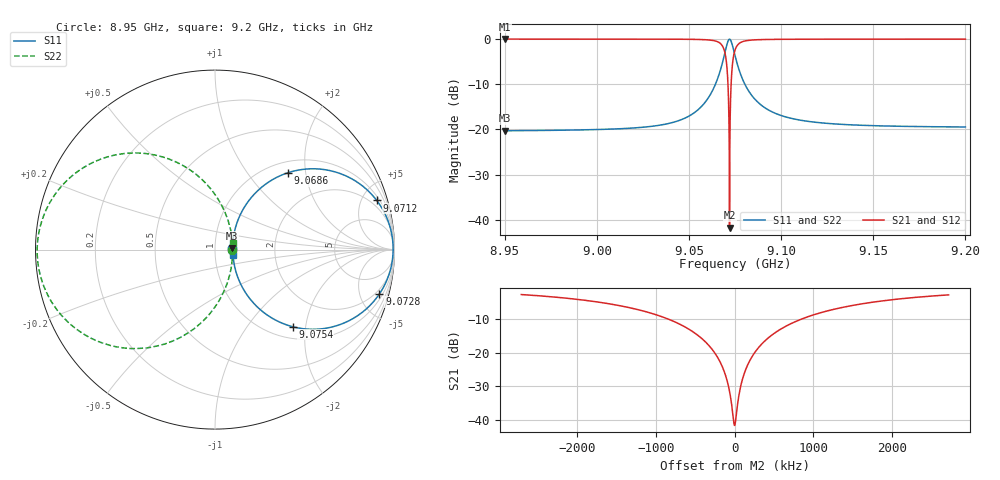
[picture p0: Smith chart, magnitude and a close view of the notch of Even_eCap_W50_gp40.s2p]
! Sonnet Data File
! From: emgraph Version : 16.52
! From Project: Resonator2_extremeCap
! Data is De-embedded
! Data File Written: 10/11/2017 17:55:30
!< HDATE 10/10/2017 20:37:37
!< MDATE 10/10/2017 20:37:37
!< PARAMS
!< Pwid1 = 2000.0
!< Pwid2 = 2000.0
!< Air_gap = 30.0
!< Width = 50.0
!< Gap = 40.0
!< END PARAMS
# GHZ S MA R 50.70000
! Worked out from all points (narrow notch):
!   1844 points, 8.95 GHz to 9.2 GHz, reference 50.7 ohm
!   highest |S21| = -0.04 dB at 8.95 GHz (marker M1); lowest = -41.7 dB at 9.072 GHz (marker M2)
!   notch at M2: 41.6 dB deep, 461 kHz wide at half that depth
!   lowest |S11| = -20.3 dB at 8.95 GHz (marker M3), VSWR 1.21, Z = 61.5 + j1.21 ohm
!   |S11| at or under -10 dB: start of sweep to 9.0644 GHz; 9.0803 GHz to end of sweep
!   |S22| runs from -20.3 to -0.1 dB; largest |S21 - S12| = 0
!   S11 on the Smith chart (normalised r, x): 8.95 GHz: 1.21, +0.02; 9.0686 GHz: 1.22, +1.60; 9.0712 GHz: 1.33, +6.46; 9.0728 GHz: 1.47, -7.24; 9.0754 GHz: 1.24, -1.69; 9.2 GHz: 1.22, -0.08
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8.95  0.09663 5.8  0.9953 -88.6  0.9953 -88.6  0.09663 -2.9
!< P1 F=8.95 Eeff=(6.44048267 -2.9687e-5) Z0=(50.4065418 1.16289e-4) R=0.0 C=0.0
!< P2 F=8.95 Eeff=(6.44048267 -2.9687e-5) Z0=(50.4065418 1.16289e-4) R=0.0 C=0.0
8.9918  0.09882 10.9  0.9951 -89.6  0.9951 -89.6  0.0988 -10.1
9.0334  0.1107 25.7  0.9938 -92.0  0.9938 -92.0  0.1107 -29.7
9.056194  0.174 48.1  0.9846 -97.5  0.9846 -97.5  0.1738 -63.3
9.065  0.3389 55.3  0.9399 -108.3  0.9399 -108.3  0.3383 -92.3
9.068611  0.5898 46.5  0.8043 -125.1  0.8043 -125.1  0.5888 -117.4
9.070165  0.7988 32.7  0.5935 -142.1  0.5935 -142.1  0.7974 -138.3
9.071189  0.942 16.9  0.315 -159.5  0.315 -159.5  0.9404 -158.8
9.071799  0.9884 5.1  0.09151 -169.0  0.09151 -169.0  0.9868 -173.4
9.071937  0.9919 2.3  0.0381 -164.8  0.0381 -164.8  0.9902 -176.8
9.072032  0.9926 0.3  0.008221 -89.2  0.008221 -89.2  0.9909 -179.1
9.072122  0.9919 -1.5  0.03621 -14.5  0.03621 -14.5  0.9903 178.6
9.072243  0.9892 -3.9  0.08263 -9.8  0.08263 -9.8  0.9876 175.6
9.072822  0.9485 -15.1  0.2949 -18.1  0.2949 -18.1  0.947 161.8
9.073603  0.8476 -27.7  0.5206 -31.7  0.5206 -31.7  0.8462 145.8
9.075  0.6552 -42.2  0.7514 -48.9  0.7514 -48.9  0.6542 125.3
9.0754  0.6092 -44.8  0.7897 -52.3  0.7897 -52.3  0.6083 120.9
9.0792  0.3547 -54.4  0.9341 -69.5  0.9341 -69.5  0.3542 95.8
9.0886  0.1901 -49.5  0.9816 -80.2  0.9816 -80.2  0.1899 69.2
9.1168  0.1212 -31.1  0.9926 -85.9  0.9926 -85.9  0.1211 39.4
9.1584  0.1089 -21.2  0.994 -87.9  0.994 -87.9  0.1089 25.5
9.2  0.1064 -17.4  0.9943 -88.8  0.9943 -88.8  0.1064 19.7
